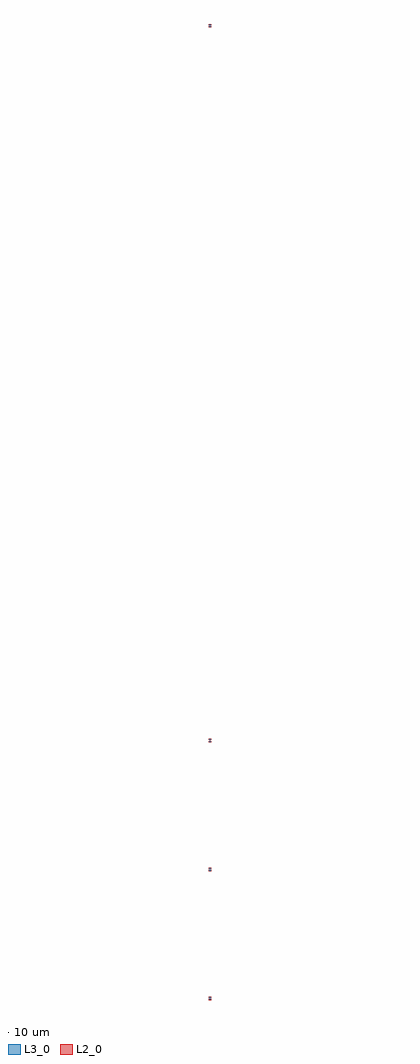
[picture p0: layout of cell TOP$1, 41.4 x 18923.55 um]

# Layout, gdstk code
import gdstk
lib = gdstk.Library(unit=1e-6, precision=1e-09)
def P(c, l, *ps):  # polygons
    for p in ps: c.add(gdstk.Polygon(p, *l))
L2_0 = (2, 0)
L3_0 = (3, 0)

q18gap = lib.new_cell('Q18GAP')
P(q18gap, L2_0, [(779.3,2253.3),(779.3,2274),(798.93,2284),(799.43,2284),(799.43,2286),(799.63,2286),(799.63,2284),(780,2274),(780,2254),(820,2254),(820,2274),(800.37,2284),(800.37,2286),(797.3,2286),(797.3,2286.15),(796.8,2286.15),(779.3,2296.15),(779.3,2316.15),(780,2316.15),(780,2296.15),(797.5,2286.15),(802.5,2286.15),(820,2296.15),(820,2316.15),(779.3,2316.15),(779.3,2316.85),(820.7,2316.85),(820.7,2296.15),(803.2,2286.15),(802.7,2286.15),(802.7,2286),(800.57,2286),(800.57,2284),(801.07,2284),(820.7,2274),(820.7,2253.3)],
  [(779.3,4753.3),(779.3,4774),(798.93,4784),(799.43,4784),(799.43,4786),(799.63,4786),(799.63,4784),(780,4774),(780,4754),(820,4754),(820,4774),(800.37,4784),(800.37,4786),(797.3,4786),(797.3,4786.15),(796.8,4786.15),(779.3,4796.15),(779.3,4816.15),(780,4816.15),(780,4796.15),(797.5,4786.15),(802.5,4786.15),(820,4796.15),(820,4816.15),(779.3,4816.15),(779.3,4816.85),(820.7,4816.85),(820.7,4796.15),(803.2,4786.15),(802.7,4786.15),(802.7,4786),(800.57,4786),(800.57,4784),(801.07,4784),(820.7,4774),(820.7,4753.3)],
  [(779.3,7253.3),(779.3,7274),(798.93,7284),(799.43,7284),(799.43,7286),(799.63,7286),(799.63,7284),(780,7274),(780,7254),(820,7254),(820,7274),(800.37,7284),(800.37,7286),(797.3,7286),(797.3,7286.15),(796.8,7286.15),(779.3,7296.15),(779.3,7316.15),(780,7316.15),(780,7296.15),(797.5,7286.15),(802.5,7286.15),(820,7296.15),(820,7316.15),(779.3,7316.15),(779.3,7316.85),(820.7,7316.85),(820.7,7296.15),(803.2,7286.15),(802.7,7286.15),(802.7,7286),(800.57,7286),(800.57,7284),(801.07,7284),(820.7,7274),(820.7,7253.3)],
  [(779.3,21113.3),(779.3,21134),(798.93,21144),(799.43,21144),(799.43,21146),(799.63,21146),(799.63,21144),(780,21134),(780,21114),(820,21114),(820,21134),(800.37,21144),(800.37,21146),(797.3,21146),(797.3,21146.15),(796.8,21146.15),(779.3,21156.15),(779.3,21176.15),(780,21176.15),(780,21156.15),(797.5,21146.15),(802.5,21146.15),(820,21156.15),(820,21176.15),(779.3,21176.15),(779.3,21176.85),(820.7,21176.85),(820.7,21156.15),(803.2,21146.15),(802.7,21146.15),(802.7,21146),(800.57,21146),(800.57,21144),(801.07,21144),(820.7,21134),(820.7,21113.3)])

q18pin = lib.new_cell('Q18PIN')
P(q18pin, L3_0, [(780,2254),(780,2274),(799.63,2284),(799.63,2286),(800.37,2286),(800.37,2284),(820,2274),(820,2254)],
  [(797.5,2286.15),(780,2296.15),(780,2316.15),(820,2316.15),(820,2296.15),(802.5,2286.15)],
  [(780,4754),(780,4774),(799.63,4784),(799.63,4786),(800.37,4786),(800.37,4784),(820,4774),(820,4754)],
  [(797.5,4786.15),(780,4796.15),(780,4816.15),(820,4816.15),(820,4796.15),(802.5,4786.15)],
  [(780,7254),(780,7274),(799.63,7284),(799.63,7286),(800.37,7286),(800.37,7284),(820,7274),(820,7254)],
  [(797.5,7286.15),(780,7296.15),(780,7316.15),(820,7316.15),(820,7296.15),(802.5,7286.15)],
  [(780,21114),(780,21134),(799.63,21144),(799.63,21146),(800.37,21146),(800.37,21144),(820,21134),(820,21114)],
  [(797.5,21146.15),(780,21156.15),(780,21176.15),(820,21176.15),(820,21156.15),(802.5,21146.15)])

q18 = lib.new_cell('Q18')

top_1 = lib.new_cell('TOP$1')
top_1.add(gdstk.Reference(q18gap, (0,0)))
top_1.add(gdstk.Reference(q18pin, (0,0)))
top_1.add(gdstk.Reference(q18, (0,0)))

lib.write_gds('TOP_1.gds')
